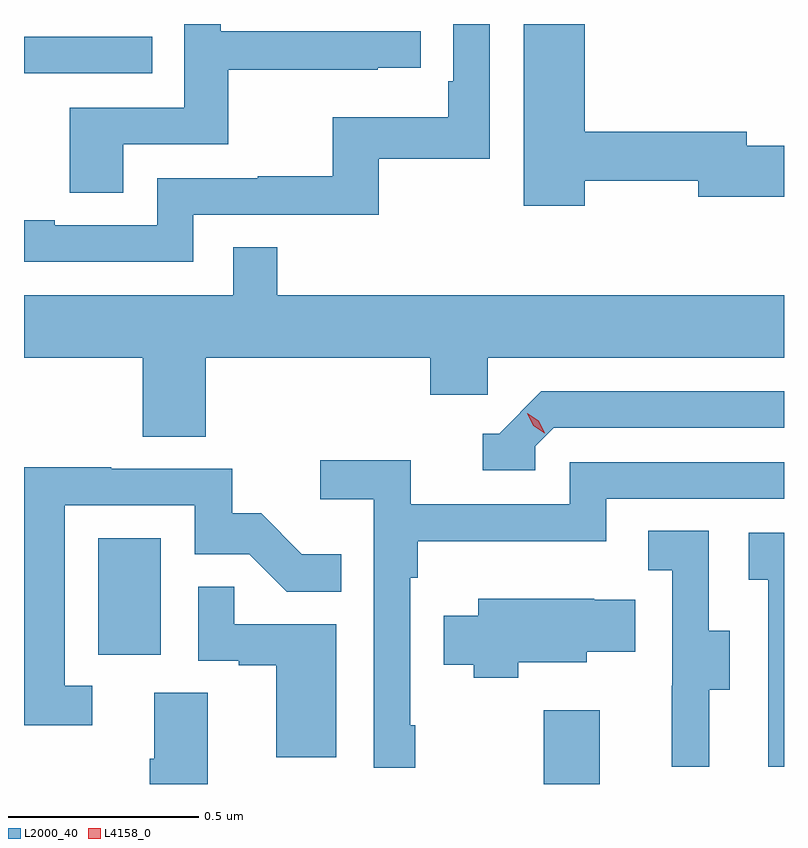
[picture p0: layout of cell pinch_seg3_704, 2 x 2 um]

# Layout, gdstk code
import gdstk
lib = gdstk.Library(unit=1e-6, precision=1e-09)
def R(c, l, rs):  # rectangles x0, y0, x1, y1
    for r in rs: c.add(gdstk.rectangle(r[:2], r[2:], *l))
def P(c, l, *ps):  # polygons
    for p in ps: c.add(gdstk.Polygon(p, *l))
L2000_40 = (2000, 40)
L4158_0 = (4158, 0)

pinch_seg3_704 = lib.new_cell('pinch_seg3_704')
R(pinch_seg3_704, L2000_40, [(1091.566,673.154,1091.713,673.348), (1090.394,673.494,1090.558,673.801), (1090.198,675.024,1090.535,675.12)])
P(pinch_seg3_704, L2000_40, [(1091.674,674.742),(1091.972,674.742),(1091.972,674.699),(1092.198,674.699),(1092.198,674.834),(1092.1,674.834),(1092.1,674.87),(1091.674,674.87),(1091.674,675.154),(1091.513,675.154),(1091.513,674.676),(1091.674,674.676)],
  [(1090.459,674.838),(1090.736,674.838),(1090.736,675.034),(1091.129,675.034),(1091.129,675.039),(1091.242,675.039),(1091.242,675.135),(1090.716,675.135),(1090.716,675.154),(1090.62,675.154),(1090.62,674.934),(1090.319,674.934),(1090.319,674.71),(1090.459,674.71)],
  [(1090.644,674.652),(1091.131,674.652),(1091.131,674.799),(1091.424,674.799),(1091.424,675.154),(1091.328,675.154),(1091.328,675.004),(1091.315,675.004),(1091.315,674.908),(1091.01,674.908),(1091.01,674.753),(1090.813,674.753),(1090.813,674.748),(1090.548,674.748),(1090.548,674.625),(1090.279,674.625),(1090.279,674.638),(1090.198,674.638),(1090.198,674.529),(1090.644,674.529)],
  [(1090.676,674.276),(1091.267,674.276),(1091.267,674.178),(1091.418,674.178),(1091.418,674.276),(1092.198,674.276),(1092.198,674.44),(1090.865,674.44),(1090.865,674.567),(1090.749,674.567),(1090.749,674.44),(1090.198,674.44),(1090.198,674.276),(1090.511,674.276),(1090.511,674.068),(1090.676,674.068)],
  [(1091.544,674.043),(1091.592,674.091),(1092.198,674.091),(1092.198,674.187),(1091.559,674.187),(1091.448,674.076),(1091.405,674.076),(1091.405,673.98),(1091.544,673.98)],
  [(1091.227,673.309),(1091.214,673.309),(1091.214,673.697),(1091.234,673.697),(1091.234,673.793),(1091.73,673.793),(1091.73,673.905),(1092.198,673.905),(1092.198,674.001),(1091.634,674.001),(1091.634,673.89),(1091.216,673.89),(1091.216,674.006),(1090.977,674.006),(1090.977,673.904),(1091.118,673.904),(1091.118,673.197),(1091.227,673.197)],
  [(1090.378,673.413),(1090.305,673.413),(1090.305,673.887),(1090.647,673.887),(1090.647,673.758),(1090.791,673.758),(1090.889,673.66),(1091.033,673.66),(1091.033,673.759),(1090.929,673.759),(1090.822,673.866),(1090.746,673.866),(1090.746,673.983),(1090.427,673.983),(1090.427,673.988),(1090.198,673.988),(1090.198,673.308),(1090.378,673.308)],
  [(1092.001,673.402),(1092.055,673.402),(1092.055,673.557),(1092,673.557),(1092,673.82),(1091.841,673.82),(1091.841,673.717),(1091.904,673.717),(1091.904,673.413),(1091.903,673.413),(1091.903,673.2),(1092.001,673.2)],
  [(1092.198,673.815),(1092.105,673.815),(1092.105,673.691),(1092.156,673.691),(1092.156,673.2),(1092.198,673.2)],
  [(1091.02,673.575),(1090.751,673.575),(1090.751,673.673),(1090.656,673.673),(1090.656,673.479),(1090.763,673.479),(1090.763,673.467),(1090.862,673.467),(1090.862,673.224),(1091.02,673.224)],
  [(1091.499,673.475),(1091.679,673.475),(1091.679,673.502),(1091.807,673.502),(1091.807,673.639),(1091.699,673.639),(1091.699,673.642),(1091.393,673.642),(1091.393,673.597),(1091.303,673.597),(1091.303,673.468),(1091.381,673.468),(1091.381,673.433),(1091.499,673.433)],
  [(1090.681,673.394),(1090.541,673.394),(1090.541,673.22),(1090.529,673.22),(1090.529,673.154),(1090.681,673.154)])
P(pinch_seg3_704, L4158_0, [(1091.568,674.077),(1091.538,674.097),(1091.522,674.13),(1091.522,674.13),(1091.522,674.13),(1091.553,674.11),(1091.568,674.077),(1091.568,674.077)])

lib.write_gds('pinch_seg3_704.gds')
